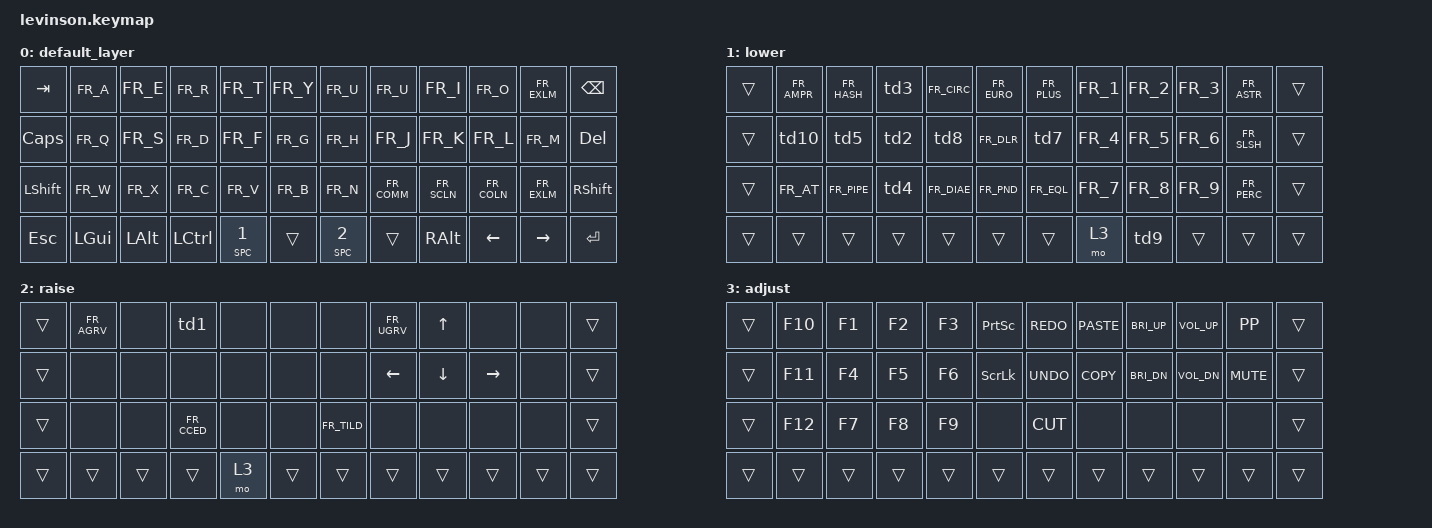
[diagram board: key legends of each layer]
/*
 * Copyright (c) 2020 The ZMK Contributors
 *
 * SPDX-License-Identifier: MIT
 */

 #include "keys_fr.h"
 #include <behaviors.dtsi>
 #include <dt-bindings/zmk/keys.h>
 #include <dt-bindings/zmk/bt.h>
 #include <dt-bindings/zmk/ext_power.h>
 #include <dt-bindings/zmk/outputs.h>


/ {
    behaviors {
        td1: tap_dance_1 {
            compatible = "zmk,behavior-tap-dance";
            label = "TAP_DANCE_1";
            #binding-cells = <0>;
            tapping-term-ms = <200>;
            bindings = <&kp FR_EACU>, <&kp FR_EGRV>;
        };
         td2: tap_dance_2 {
            compatible = "zmk,behavior-tap-dance";
            label = "TAP_DANCE_2";
            #binding-cells = <0>;
            tapping-term-ms = <200>;
            bindings = <&kp FR_RPRN>, <&kp FR_LPRN>;
        };
         td3: tap_dance_3 {
            compatible = "zmk,behavior-tap-dance";
            label = "TAP_DANCE_3";
            #binding-cells = <0>;
            tapping-term-ms = <200>;
            bindings = <&kp FR_RBRC>, <&kp FR_LBRC>;
        };
         td4: tap_dance_4 {
            compatible = "zmk,behavior-tap-dance";
            label = "TAP_DANCE_4";
            #binding-cells = <0>;
            tapping-term-ms = <200>;
            bindings = <&kp FR_RCBR>, <&kp FR_LCBR>;
        };
         td5: tap_dance_5 {
            compatible = "zmk,behavior-tap-dance";
            label = "TAP_DANCE_5";
            #binding-cells = <0>;
            tapping-term-ms = <200>;
            bindings = <&kp FR_RABK>, <&kp FR_LABK>;
        };
        td6: tap_dance_6 {
            compatible = "zmk,behavior-tap-dance";
            label = "TAP_DANCE_6";
            #binding-cells = <0>;
            tapping-term-ms = <200>;
            bindings = <&kp FR_QUOT>, <&kp FR_DQUO>;
        };
        td7: tap_dance_7 {
            compatible = "zmk,behavior-tap-dance";
            label = "TAP_DANCE_7";
            #binding-cells = <0>;
            tapping-term-ms = <200>;
            bindings = <&kp FR_MINS>, <&kp FR_UNDS>;
        };
        td8: tap_dance_8 {
            compatible = "zmk,behavior-tap-dance";
            label = "TAP_DANCE_8";
            #binding-cells = <0>;
            tapping-term-ms = <200>;
            bindings = <&kp FR_QUOT>, <&kp FR_DQUO>;
        };
        td9: tap_dance_9 {
            compatible = "zmk,behavior-tap-dance";
            label = "TAP_DANCE_9";
            #binding-cells = <0>;
            tapping-term-ms = <200>;
            bindings = <&kp FR_0>, <&kp FR_DEG>;
        };
        td10: tap_dance_10 {
            compatible = "zmk,behavior-tap-dance";
            label = "TAP_DANCE_10";
            #binding-cells = <0>;
            tapping-term-ms = <200>;
            bindings = <&kp FR_SLSH>, <&kp FR_BSLS>;
        };
    };
};


/ {
    keymap {
        compatible = "zmk,keymap";

        default_layer {
            // -----------------------------------------------------------------------------------------
            // |  TAB  |  A   |  Z   |  E   |  R   |  T   |   Y   |  U    |  I   |  O   |   P   | BSPC  |
            // |  ESC  |  Z   |  S   |  D   |  F   |  G   |   H   |  J    |  K   |  L   |   M   | DEL   |
            // | SHIFT |  Z   |  X   |  C   |  V   |  B   |   N   |  M    |  ,   |  .   |   /   | RET   |
            // | ESC   | LCTL | LALT | LGUI | LOWR |     SPACE    |  RAIS | LARW | DARW | UARW  |  RARW |
            bindings = <
                &kp TAB         &kp FR_A        &kp FR_E        &kp FR_R        &kp FR_T        &kp FR_Y        &kp FR_U        &kp FR_U        &kp FR_I        &kp FR_O        &kp FR_EXLM     &kp BSPC
                &kp CLCK        &kp FR_Q        &kp FR_S        &kp FR_D        &kp FR_F        &kp FR_G        &kp FR_H        &kp FR_J        &kp FR_K        &kp FR_L        &kp FR_M        &kp DEL
                &kp LSHFT       &kp FR_W        &kp FR_X        &kp FR_C        &kp FR_V        &kp FR_B        &kp FR_N        &kp FR_COMM     &kp FR_SCLN     &kp FR_COLN     &kp FR_EXLM     &kp RSHFT
                &kp ESC         &kp LGUI        &kp LALT        &kp LCTL        &lt SPC 1       &trans          &lt SPC 2       &trans          &kp RALT        &kp LEFT        &kp RIGHT       &kp RET
            >;
        };

        lower {
            bindings = <
                &trans          &kp FR_AMPR     &kp FR_HASH     &td3            &kp FR_CIRC     &kp FR_EURO     &kp FR_PLUS     &kp FR_1        &kp FR_2       &kp FR_3        &kp FR_ASTR     &trans
                &trans          &td10           &td5            &td2            &td8            &kp FR_DLR      &td7            &kp FR_4        &kp FR_5        &kp FR_6        &kp FR_SLSH     &trans
                &trans          &kp FR_AT       &kp FR_PIPE     &td4            &kp FR_DIAE     &kp FR_PND      &kp FR_EQL      &kp FR_7        &kp FR_8        &kp FR_9        &kp FR_PERC     &trans
                &trans          &trans          &trans          &trans          &trans          &trans          &trans          &mo 3           &td9            &trans          &trans          &trans
            >;
        };

        raise {
            bindings = <
                &trans          &kp FR_AGRV     &none           &td1            &none           &none           &none           &kp FR_UGRV     &kp UP          &none           &none           &trans
                &trans          &none           &none           &none           &none           &none           &none           &kp LEFT        &kp DOWN        &kp RIGHT       &none           &trans
                &trans          &none           &none           &kp FR_CCED     &none           &none           &kp FR_TILD     &none           &none           &none           &none           &trans
                &trans          &trans          &trans          &trans          &mo 3           &trans          &trans          &trans          &trans          &trans          &trans          &trans
            >;
        };
        adjust {
            bindings = <
                &trans          &kp F10         &kp F1          &kp F2          &kp F3          &kp PSCRN       &kp K_REDO      &kp K_PASTE     &kp C_BRI_UP    &kp K_VOL_UP    &kp K_PP        &trans
                &trans          &kp F11         &kp F4          &kp F5          &kp F6          &kp SLCK        &kp K_UNDO      &kp K_COPY      &kp C_BRI_DN    &kp K_VOL_DN    &kp K_MUTE      &trans
                &trans          &kp F12         &kp F7          &kp F8          &kp F9          &none           &kp K_CUT       &none           &none           &none           &none           &trans
                &trans          &trans          &trans          &trans          &trans          &trans          &trans          &trans          &trans          &trans          &trans          &trans
            >;
        };
    };
};
